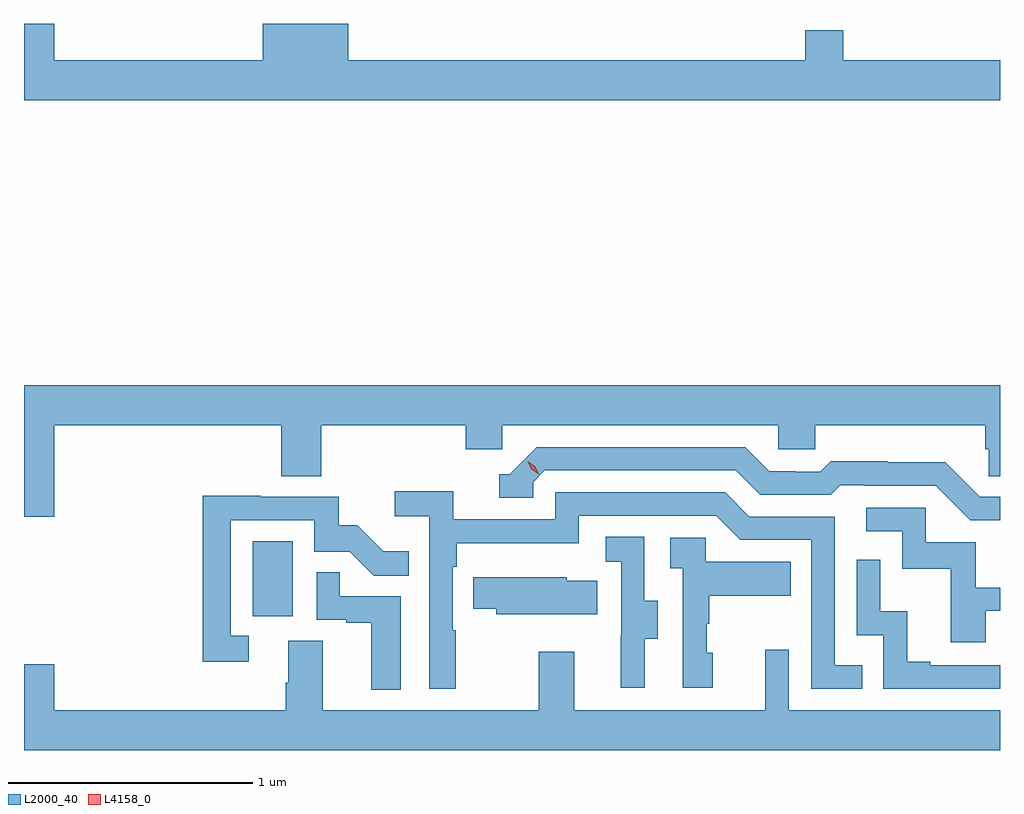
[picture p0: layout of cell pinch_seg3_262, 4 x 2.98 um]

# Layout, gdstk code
import gdstk
lib = gdstk.Library(unit=1e-6, precision=1e-09)
def R(c, l, rs):  # rectangles x0, y0, x1, y1
    for r in rs: c.add(gdstk.rectangle(r[:2], r[2:], *l))
def P(c, l, *ps):  # polygons
    for p in ps: c.add(gdstk.Polygon(p, *l))
L2000_40 = (2000, 40)
L4158_0 = (4158, 0)

pinch_seg3_262 = lib.new_cell('pinch_seg3_262')
R(pinch_seg3_262, L2000_40, [(945.206,724.11,945.37,724.417)])
P(pinch_seg3_262, L2000_40, [(948.269,726.388),(947.627,726.388),(947.627,726.512),(947.471,726.512),(947.471,726.388),(945.598,726.388),(945.598,726.538),(945.248,726.538),(945.248,726.388),(944.392,726.388),(944.392,726.538),(944.269,726.538),(944.269,726.224),(948.269,726.224)],
  [(944.392,724.892),(945.323,724.892),(945.323,724.684),(945.488,724.684),(945.488,724.892),(946.079,724.892),(946.079,724.794),(946.23,724.794),(946.23,724.892),(947.361,724.892),(947.361,724.794),(947.511,724.794),(947.511,724.892),(948.209,724.892),(948.209,724.794),(948.223,724.794),(948.223,724.684),(948.269,724.684),(948.269,725.056),(944.269,725.056),(944.269,724.518),(944.392,724.518)],
  [(948.269,724.599),(948.186,724.599),(948.044,724.741),(947.808,724.741),(947.808,724.744),(947.575,724.744),(947.533,724.701),(947.43,724.701),(947.43,724.704),(947.323,724.704),(947.224,724.803),(946.371,724.803),(946.26,724.692),(946.217,724.692),(946.217,724.596),(946.356,724.596),(946.356,724.659),(946.404,724.707),(947.187,724.707),(947.286,724.608),(947.575,724.608),(947.614,724.647),(947.713,724.647),(947.713,724.644),(948.006,724.644),(948.147,724.503),(948.269,724.503)],
  [(946.039,724.052),(946.026,724.052),(946.026,724.313),(946.043,724.313),(946.043,724.409),(946.542,724.409),(946.542,724.521),(947.106,724.521),(947.205,724.422),(947.496,724.422),(947.496,723.813),(947.705,723.813),(947.705,723.909),(947.592,723.909),(947.592,724.518),(947.242,724.518),(947.143,724.617),(946.446,724.617),(946.446,724.506),(946.028,724.506),(946.028,724.622),(945.789,724.622),(945.789,724.52),(945.93,724.52),(945.93,723.813),(946.039,723.813)],
  [(945.19,724.029),(945.117,724.029),(945.117,724.503),(945.459,724.503),(945.459,724.374),(945.604,724.374),(945.702,724.276),(945.845,724.276),(945.845,724.375),(945.741,724.375),(945.634,724.482),(945.558,724.482),(945.558,724.599),(945.239,724.599),(945.239,724.604),(945.001,724.604),(945.001,723.924),(945.19,723.924)],
  [(948.211,724.131),(948.269,724.131),(948.269,724.227),(948.169,724.227),(948.169,724.413),(947.964,724.413),(947.964,724.554),(947.721,724.554),(947.721,724.458),(947.868,724.458),(947.868,724.305),(948.067,724.305),(948.067,724.002),(948.211,724.002)],
  [(946.813,724.018),(946.867,724.018),(946.867,724.173),(946.812,724.173),(946.812,724.436),(946.653,724.436),(946.653,724.333),(946.716,724.333),(946.716,724.029),(946.715,724.029),(946.715,723.816),(946.813,723.816)],
  [(947.092,723.96),(947.067,723.96),(947.067,724.079),(947.077,724.079),(947.077,724.193),(947.411,724.193),(947.411,724.333),(947.064,724.333),(947.064,724.431),(946.917,724.431),(946.917,724.307),(946.968,724.307),(946.968,723.816),(947.092,723.816)],
  [(948.269,723.909),(947.983,723.909),(947.983,723.922),(947.888,723.922),(947.888,724.13),(947.778,724.13),(947.778,724.342),(947.682,724.342),(947.682,724.032),(947.79,724.032),(947.79,723.813),(948.269,723.813)],
  [(945.814,724.191),(945.563,724.191),(945.563,724.289),(945.468,724.289),(945.468,724.095),(945.589,724.095),(945.589,724.083),(945.692,724.083),(945.692,723.809),(945.814,723.809)],
  [(946.619,724.255),(946.494,724.255),(946.494,724.27),(946.222,724.27),(946.222,724.269),(946.111,724.269),(946.111,724.141),(946.205,724.141),(946.205,724.118),(946.619,724.118)],
  [(948.269,723.724),(947.403,723.724),(947.403,723.973),(947.306,723.973),(947.306,723.724),(946.525,723.724),(946.525,723.964),(946.378,723.964),(946.378,723.724),(945.493,723.724),(945.493,724.01),(945.353,724.01),(945.353,723.836),(945.341,723.836),(945.341,723.724),(944.392,723.724),(944.392,723.913),(944.269,723.913),(944.269,723.56),(948.269,723.56)])
P(pinch_seg3_262, L4158_0, [(946.379,724.692),(946.348,724.712),(946.333,724.744),(946.333,724.745),(946.333,724.745),(946.363,724.725),(946.379,724.693),(946.379,724.692)])

lib.write_gds('pinch_seg3_262.gds')
